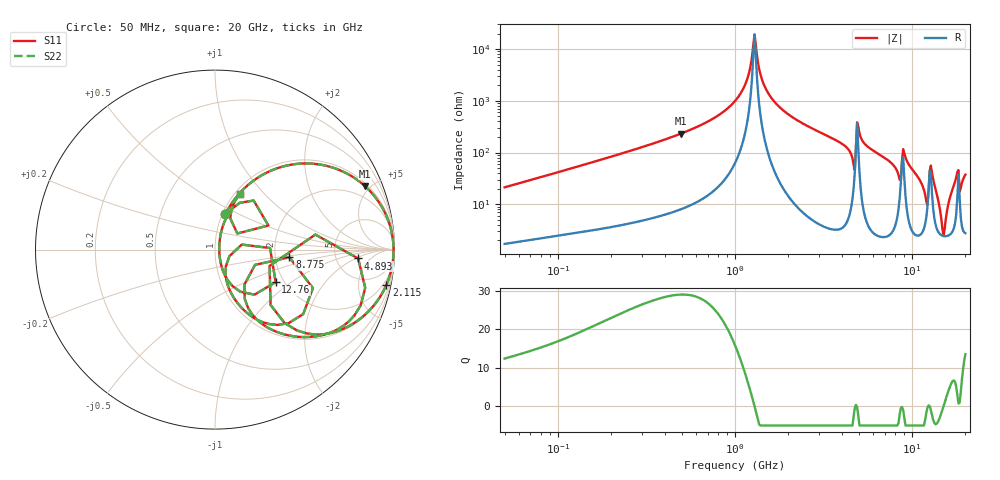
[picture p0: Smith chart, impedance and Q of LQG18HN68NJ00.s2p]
!Murata Part Number: LQG18HN68NJ00
!These Parameters are Measured in Series Mode Connection
!  o--[Z]--o
!Port1  Port2
!  o-------o
!Freq. Start=50[MHz] Stop=20[GHz], 401[Steps]
# Hz S RI R 50
!Freq.(Hz) S11(Real) S11(Imag) S21(Real) S21(Imag) S12(Real) S12(Imag) S22(Real) S22(Imag)
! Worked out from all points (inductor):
!   401 points, 50 MHz to 20 GHz, reference 50 ohm
!   read as one part in series: L = 66.7 nH near 51.52 MHz
!   highest Q = 29 at 494.6 MHz (marker M1), where L = 74.6 nH
!   self-resonance near 1.271 GHz
!   S11 on the Smith chart (normalised r, x): 50 MHz: 1.03, +0.42; 2.115 GHz: 1.22, -9.59; 4.893 GHz: 8.32, -2.28; 8.775 GHz: 2.40, -0.25; 12.76 GHz: 1.81, -0.77; 20 GHz: 1.06, +0.75
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5e7  0.0576 0.1961  0.9424 -0.1961  0.9424 -0.1961  0.0576 0.1961
1.364002e8  0.2533 0.41  0.7467 -0.41  0.7467 -0.41  0.2533 0.41
3.721004e8  0.7199 0.4315  0.2801 -0.4315  0.2801 -0.4315  0.7199 0.4315
4.946044e8  0.8349 0.3544  0.1651 -0.3544  0.1651 -0.3544  0.8349 0.3544
1e9  0.9838 0.0985  0.0162 -0.0985  0.0162 -0.0985  0.9838 0.0985
1.161586e9  0.9928 0.0406  0.00722 -0.0406  0.00722 -0.0406  0.9928 0.0406
1.289994e9  0.9948 -0.000215  0.00518 0.000215  0.00518 0.000215  0.9948 -0.000215
1.521052e9  0.9909 -0.065  0.00907 0.065  0.00907 0.065  0.9909 -0.065
2.114743e9  0.9542 -0.1978  0.0458 0.1978  0.0458 0.1978  0.9542 -0.1978
2.728004e9  0.8913 -0.303  0.1087 0.303  0.1087 0.303  0.8913 -0.303
4.405649e9  0.5475 -0.4722  0.4525 0.4722  0.4525 0.4722  0.5475 -0.4722
4.677679e9  0.3097 -0.3084  0.6903 0.3084  0.6903 0.3084  0.3097 -0.3084
4.89267e9  0.7976 -0.0495  0.2024 0.0495  0.2024 0.0495  0.7976 -0.0495
5.433528e9  0.6684 -0.4518  0.3316 0.4518  0.3316 0.4518  0.6684 -0.4518
7.442007e9  0.3201 -0.4482  0.6799 0.4482  0.6799 0.4482  0.3201 -0.4482
8.774992e9  0.4143 -0.0431  0.5857 0.0431  0.5857 0.0431  0.4143 -0.0431
9.457416e9  0.3032 -0.4152  0.6968 0.4152  0.6968 0.4152  0.3032 -0.4152
1.201863e10  0.0608 -0.0926  0.9392 0.0926  0.9392 0.0926  0.0608 -0.0926
1.276073e10  0.338 -0.1814  0.662 0.1814  0.662 0.1814  0.338 -0.1814
1.504638e10  0.0237 -0.000572  0.9763 0.000572  0.9763 0.000572  0.0237 -0.000572
1.747767e10  0.1009 0.2325  0.8991 -0.2325  0.8991 -0.2325  0.1009 0.2325
2e10  0.14 0.312  0.86 -0.312  0.86 -0.312  0.14 0.312
